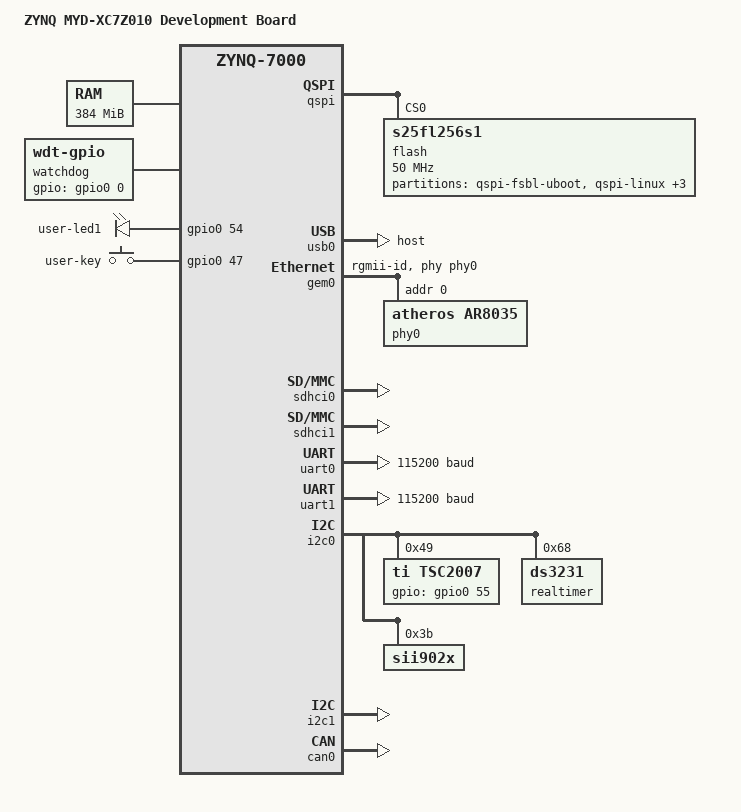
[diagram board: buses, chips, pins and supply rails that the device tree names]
/*
 *  Copyright (C) 2011 - 2014 Xilinx
 *  Copyright (C) 2012 National Instruments Corp.
 *
 * This software is licensed under the terms of the GNU General Public
 * License version 2, as published by the Free Software Foundation, and
 * may be copied, distributed, and modified under those terms.
 *
 * This program is distributed in the hope that it will be useful,
 * but WITHOUT ANY WARRANTY; without even the implied warranty of
 * MERCHANTABILITY or FITNESS FOR A PARTICULAR PURPOSE.  See the
 * GNU General Public License for more details.
 */
/dts-v1/;
/include/ "zynq-7000.dtsi"

/ {
	model = "ZYNQ MYD-XC7Z010 Development Board";
	compatible = "myird,myd-xc7z010", "xlnx,zynq-7000";

	aliases {
		ethernet0 = &gem0;
		serial0 = &uart1;
		serial1 = &uart0;
		spi0 = &qspi;
	};

	memory {
		device_type = "memory";
		reg = <0x0 0x18000000>;
	};

	chosen {
		bootargs = "console=ttyPS0,115200 root=/dev/ram rw maxcpus=1 earlyprintk";
		linux,stdout-path = "/amba/serial@e0001000";
	};
};

&gpio0 {
    emio-gpio-width = <64>;
    gpio-mask-high = <0x0>;
    gpio-mask-low = <0x5600>;
    xlnx,emio-gpio-width = <0x40>;
    xlnx,mio-gpio-mask = <0x5600>;
};

&qspi {
 	status = "okay";
	is-dual = <0>;
	num-cs = <1>;
	xlnx,fb-clk = <0x1>;
	xlnx,qspi-mode = <0x0>;
	flash@0 {
		compatible = "s25fl256s1";
		reg = <0x0>;
		spi-tx-bus-width = <1>;
		spi-rx-bus-width = <4>;
		spi-max-frequency = <50000000>;
		#address-cells = <1>;
		#size-cells = <1>;
		partition@qspi-fsbl-uboot {
			label = "qspi-fsbl-uboot";
			reg = <0x0 0x100000>;
		};
		partition@qspi-linux {
			label = "qspi-linux";
			reg = <0x100000 0x500000>;
		};
		partition@qspi-device-tree {
			label = "qspi-device-tree";
			reg = <0x600000 0x20000>;
		};
		partition@qspi-rootfs {
			label = "qspi-rootfs";
			reg = <0x620000 0x5E0000>;
		};
		partition@qspi-bitstream {
			label = "qspi-bitstream";
			reg = <0xC00000 0x400000>;
 		};
	};
};

&usb0 {
	status = "okay";
	dr_mode = "host";
	phy_type = "ulpi";
};


&gem0 {
    compatible = "cdns,gem";
    reg = <0xe000b000 0x4000>;
    status = "okay";
    interrupts = <0 22 4>;
    interrupt-parent = <&intc>;
    clocks = <&clkc 30>, <&clkc 30>, <&clkc 13>;
    clock-names = "pclk", "hclk", "tx_clk";
    phy-mode = "rgmii-id";
    phy-handle = <&phy0>;
    phy0: phy@0 {
        compatible = "atheros,ar8035";
            device_type = "ethernet-phy";
            reg = <0>;
    };
};

&sdhci0 {
	status = "okay";
    xlnx,has-cd = <0x1>;
    xlnx,has-power = <0x0>;
    xlnx,has-wp = <0x0>;
};

&sdhci1 {
	status = "okay";
    xlnx,has-cd = <0x0>;
    xlnx,has-power = <0x0>;
    xlnx,has-wp = <0x0>;
};
&uart0 {
	status = "okay";
    current-speed = <115200>;
    port-number = <1>;
     xlnx,has-modem = <0x0>; 
};

&uart1 {
	status = "okay";
    current-speed = <115200>;
    port-number = <0>;
     xlnx,has-modem = <0x0>; 
};
&i2c0 {
	status  = "okay";
    bus-id = <0x0>;
    i2c-clk = <400000>;
    
    tsc2007@49 {
            compatible = "ti,tsc2007";
            reg = <0x49>;
            interrupt-parent = <&intc>;
            interrupts = <0 33 4>;
            gpios = <&gpio0 55 0>;
            ti,x-plate-ohms = <180>;
    };
    
    realtimer@68 {
            compatible = "ds3231";
             reg= <0x68>;
     };

    sii902x@3b {
        compatible = "sii902x";
        reg = <0x3b>;
        interrupt-parent = <&intc>;
        interrupts = < 0 29 4 >;
        mode_str = "1920x1080";
        bits-per-pixel = <16>;
    };
 

};

&i2c1 {
	status = "okay";
};

&can0 {
	status = "okay";
};

&ps7_axi {
    
     watchdog {
        compatible = "linux,wdt-gpio";
        gpios = <&gpio0 0 0>;
        hw_algo = "toggle";
        hw_margin_ms = <1600>; 
    };
   
    gpio-leds {
          compatible = "gpio-leds";
        user-led1 {
            lable = "user-led1";
            gpios = <&gpio0 54 0>;
         }; 
    }; 
    
    gpio-keys {
        compatible = "gpio-keys"; 
        #address-cells = <1>;
        #size-cells = <0>;
        autorepeat;

        user-key {
            lable = "user-key1";
            gpios = <&gpio0 47 0>;
            debounce-interval= <50>;
            linux,code = <108>;
            gpio-key,wakeup;
            autorepeat;
             }; 
      }; 
  
 /include/ "myd-xc7z010-kit-pl.dtsi"

};
